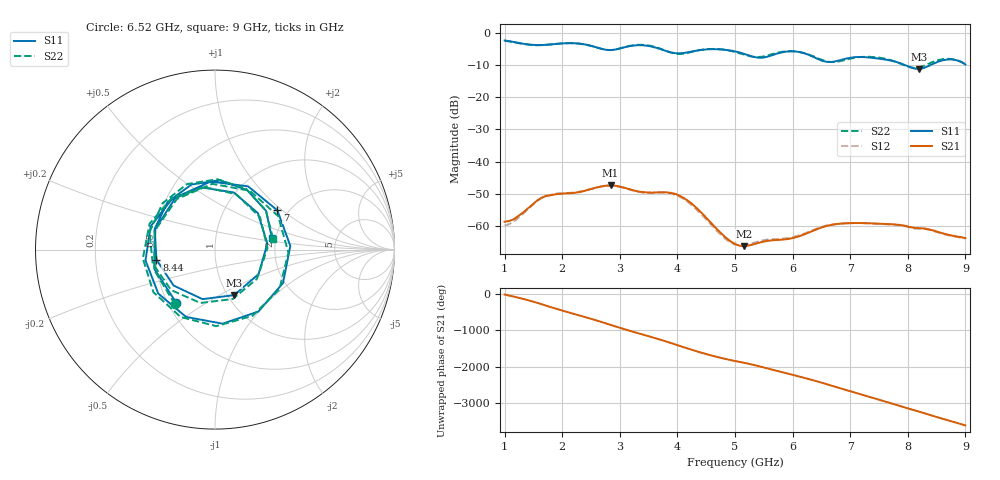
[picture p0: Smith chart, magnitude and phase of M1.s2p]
# Hz S DB R 50
! CMT, C1420, 19038819, 22.4.2/3
! Date: 2023-03-14 09:50:22
! Data: Format (Calibration Info)
! Freq	S11:dB/Ang(F2)	S21:dB/Ang(F2)	S12:dB/Ang(F2)	S22:dB/Ang(F2)
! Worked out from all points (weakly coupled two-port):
!   101 points, 1 GHz to 9 GHz, reference 50 ohm
!   highest |S21| = -47.45 dB at 2.84 GHz (marker M1); lowest = -66.3 dB at 5.16 GHz (marker M2)
!   lowest |S11| = -11.2 dB at 8.2 GHz (marker M3), VSWR 1.76, Z = 53.6 - j29.4 ohm
!   |S11| at or under -10 dB: 7.951 GHz to 8.394 GHz (443.6 MHz wide, 5.43 % of centre)
!   |S22| runs from -10.9 to -2.4 dB; largest |S21 - S12| = 0.00016
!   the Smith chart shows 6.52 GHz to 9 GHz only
!   S11 on the Smith chart (normalised r, x): 6.52 GHz: 0.55, -0.38; 7 GHz: 1.76, +0.92; 8.44 GHz: 0.51, -0.06; 9 GHz: 1.91, +0.26
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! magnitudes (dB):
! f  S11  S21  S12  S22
! 1 GHz  -2.3  -58.7  -59.9  -2.4
! 1.16 GHz  -2.8  -58.0  -58.6  -2.9
! 1.72 GHz  -3.7  -50.7  -50.6  -3.7
! 2.36 GHz  -3.5  -49.3  -49.2  -3.5
! 2.84 GHz  -5.3  -47.5  -47.5  -5.3
! 3.32 GHz  -3.8  -49.3  -49.4  -3.7
! 3.72 GHz  -5.1  -49.5  -49.7  -5.0
! 3.96 GHz  -6.3  -50.1  -50.3  -6.5
! 4.2 GHz  -6.0  -52.4  -52.8  -6.1
! 4.6 GHz  -5.1  -59.4  -59.9  -5.0
! 5 GHz  -5.7  -65.7  -65.8  -5.9
! 5.16 GHz  -6.5  -66.3  -66.0  -6.7
! 5.48 GHz  -7.7  -65.0  -64.5  -7.4
! 6.04 GHz  -5.7  -63.6  -63.3  -5.7
! 6.36 GHz  -7.5  -61.5  -61.3  -7.3
! 6.52 GHz  -8.7  -60.4  -60.3  -8.5
! 7 GHz  -7.7  -59.2  -59.2  -8.0
! 7.72 GHz  -8.7  -59.5  -59.6  -8.5
! 8.2 GHz  -11.2  -60.7  -60.9  -10.7
! 8.44 GHz  -9.6  -61.4  -61.6  -9.0
! 8.76 GHz  -8.2  -63.0  -63.1  -8.1
! 9 GHz  -9.8  -63.8  -63.9  -9.7
